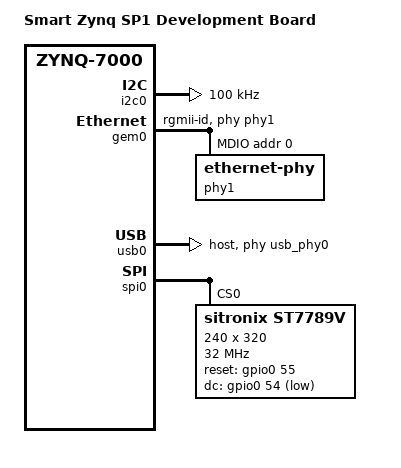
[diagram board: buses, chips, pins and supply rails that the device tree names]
/include/ "system-conf.dtsi"
#include <dt-bindings/gpio/gpio.h>

/ {
	model = "Smart Zynq SP1 Development Board";
	compatible = "digilent,zynq-SP1", "xlnx,zynq-7000";

	chosen {
		bootargs = "console=ttyPS0,115200 console=tty0 earlyprintk fbcon=map:0 root=/dev/mmcblk0p2 rw rootwait video=HDMI-A-1:1280x720M-32@60 net.ifnames=0";
	};

	aliases {
		ethernet0 = &gem0;
	};

	usb_phy0: usb_phy@0 {
		compatible = "ulpi-phy";
		#phy-cells = <0>;
		reg = <0xe0002000 0x1000>;
		view-port = <0x0170>;
		reset-gpios = <&gpio0 46 1>;
		drv-vbus;
	};

	/* Reserve framebuffer memory at 0x1e000000 (4 MB) */
	reserved-memory {
		#address-cells = <1>;
		#size-cells = <1>;
		ranges;

		framebuffer: framebuffer@1e000000 {
			compatible = "shared-dma-pool";
			reg = <0x1e000000 0x00400000>;
			no-map;
			reusable;
		};
	};
};

&i2c0 {
	clock-frequency = <100000>;
	status = "okay";
};

/*
&amba_pl {
	digilent_hdmi {
		compatible = "digilent,hdmi";
		clocks = <&axi_dynclk_0>;
		clock-names = "clk";

		digilent,fmax = <150000>;
		digilent,hmax = <1920>;
		digilent,vmax = <1080>;
		digilent,hpref = <1280>;
		digilent,vpref = <720>;

		port@0 {
			hdmi_ep: endpoint {
				remote-endpoint = <&pl_disp_ep>;
			};
		};
	};

	xlnx_pl_disp {
		compatible = "xlnx,pl-disp";
		device-id = <0xaa01>;
		dmas = <&axi_vdma_0 0>;
		dma-names = "dma0";
		xlnx,vformat = "XR24";
		xlnx,bridge = <&v_tc_0>;
		memory-region = <&framebuffer>;

		port@0 {
			pl_disp_ep: endpoint {
				remote-endpoint = <&hdmi_ep>;
			};
		};
	};
};
*/

&gem0 {
    status = "okay";
    phy-mode = "rgmii-id";
    phy-handle = <&phy1>;
    local-mac-address = [02 0a 35 00 00 01];

    /* pclk, hclk, tx_clk (ref clock) */
    clocks = <&clkc 30>, <&clkc 13>, <&clkc 15>;
    clock-names = "pclk", "hclk", "tx_clk";

    /* Program the tx/ref clock to 125 MHz for RGMII */
    assigned-clocks = <&clkc 15>;
    assigned-clock-rates = <125000000>;

    gem0_mdio: mdio {
        compatible = "cdns,macb-mdio";
        #address-cells = <1>;
        #size-cells = <0>;

        phy1: ethernet-phy@0 {
            reg = <0>;
            realtek,rx-delay = <0x30>;
            realtek,tx-delay = <0x30>;
        };
    };
};

&axi_vdma_0 {
	device-id = <0xaa02>;
	reg = <0x43000000 0x10000>;
	dma-ranges = <0x00000000 0x00000000 0x20000000>;
	xlnx,num-fstores = <0x3>;
};

&axi_dynclk_0 {
	compatible = "dglnt,axi-dynclk";
	#clock-cells = <0>;
	clocks = <&clkc 15>;
};

&v_tc_0 {
	compatible = "xlnx,bridge-v-tc-6.1";
	xlnx,pixels-per-clock = <1>;
};

&usb0 {
	dr_mode = "host";
	usb-phy = <&usb_phy0>;
};


#define GPIO_ACTIVE_HIGH 0
#define GPIO_ACTIVE_LOW  1

&spi0 {
	st7789v@0 {
		status = "okay";
		compatible = "sitronix,st7789v";
		reg = <0>;
		spi-max-frequency = <32000000>;
		rotate = <270>;
		spi-cpol;
		spi-cpha;
		rgb;
		fps = <30>;
		Buswidth = <8>;
		reset-gpios = <&gpio0 55 GPIO_ACTIVE_HIGH>;
		dc-gpios = <&gpio0 54 GPIO_ACTIVE_LOW>;
		width = <240>;
		height = <320>;
		debug = <0>;
	};
};

